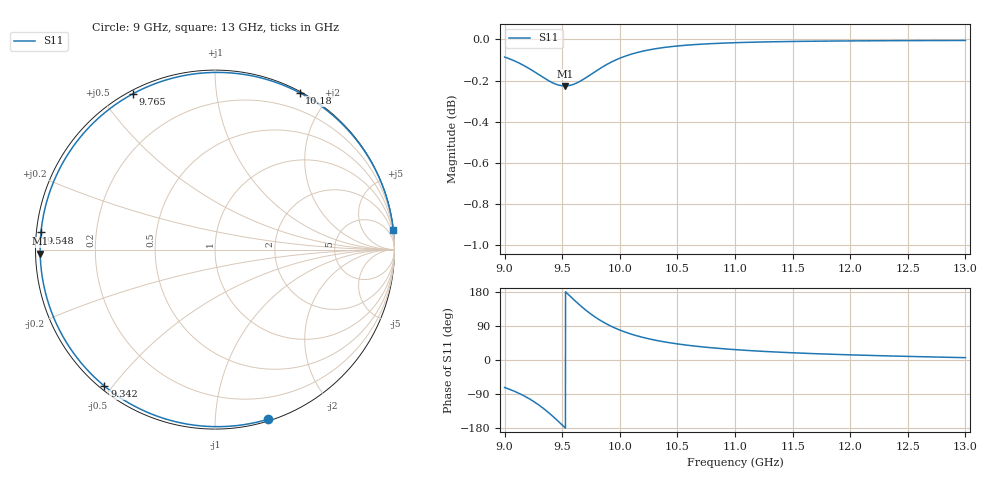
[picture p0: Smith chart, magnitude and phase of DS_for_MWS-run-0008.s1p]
! TOUCHSTONE file generated by CST DESIGN STUDIO
! Date and time: Tue Feb  4 13:01:05 2025
! Project name: C:\Work\MatlabApps\UnitCellOptimizationMatlab\CST\unitcell.cst
! Tree item: Tasks\Sweep1\SPara1\S-Parameters
! Header version: 2024
! Port assignment regex: !\s*Touchstone port\s*([0-9]+)\s*=\s*(CST MWS port|CST DES external port|CST DES block port)\s*(.+)\s* \(\"(.*)\"\)(\s*mode\s*([0-9]+))?.*
! Touchstone port assignment:
! Touchstone port 1 = CST DES external port 1 ("")
# GHz S MA R 50
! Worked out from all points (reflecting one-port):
!   4001 points, 9 GHz to 13 GHz, reference 50 ohm
!   lowest |S11| = -0.2 dB at 9.524 GHz (marker M1), VSWR 76.93, Z = 0.65 - j0.599 ohm
!   phase of S11 starts at -73 deg and turns -281 deg over the sweep
!   S11 on the Smith chart (normalised r, x): 9 GHz: 0.01, -1.36; 9.342 GHz: 0.01, -0.48; 9.548 GHz: 0.01, +0.05; 9.765 GHz: 0.01, +0.60; 10.18 GHz: 0.01, +1.68; 13 GHz: 0, +19
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9  0.9902 -72.5
9.094  0.9878 -83.7
9.2  0.9843 -99.8
9.274  0.9814 -113.9
9.342  0.9787 -129.0
9.385  0.9771 -139.7
9.43  0.9757 -151.7
9.5  0.9744 -171.6
9.524  0.9743 -178.6
9.548  0.9744 174.4
9.602  0.9753 158.8
9.663  0.9772 142.2
9.714  0.9792 129.3
9.765  0.9813 117.7
9.814  0.9833 107.7
9.868  0.9854 98.0
9.934  0.9877 87.7
10  0.9896 79.0
10.084  0.9915 69.8
10.175  0.9931 61.6
10.323  0.995 51.4
10.5  0.9964 42.5
10.722  0.9974 34.4
11  0.9982 27.4
11.5  0.9989 19.0
12  0.9992 13.5
12.5  0.9994 9.5
13  0.9994 6.2
